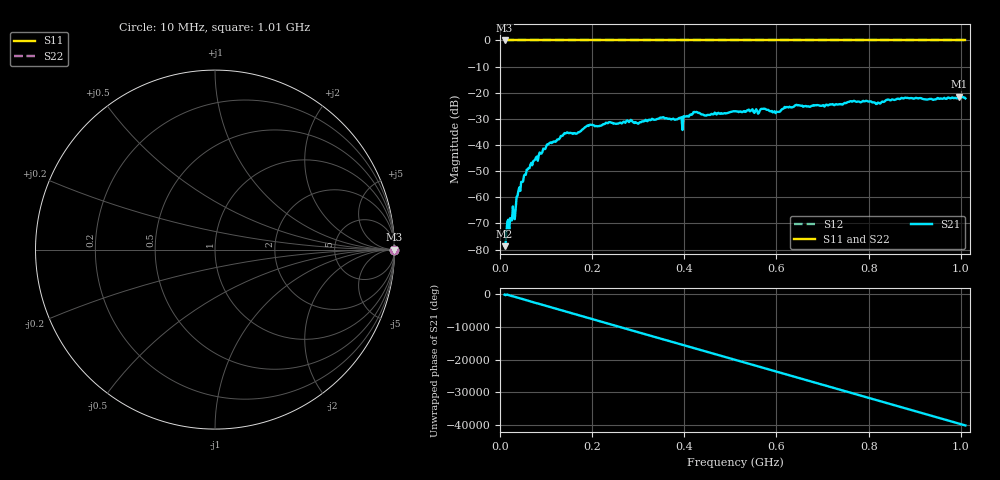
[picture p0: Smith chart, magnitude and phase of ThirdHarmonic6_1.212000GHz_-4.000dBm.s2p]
! 8/16/2025 12:38:12 PM
! C:\ANRITSUVNA\TEMP\TEMP.S2P
! CHANNEL.1
! TR.MEASUREMENT
! RAW.DATA
! RF.CORRECTION.OFF
! AVERAGING.OFF
! IF.BANDWIDTH: 5KHZ
! SWEEPTYPE:  FREQ.SWEEP(Linear)
! Reference Plane Port Info
! PORT:  PORT1  PORT2
! DISTANCE:  0  m  0  m
! TIME:  0  s  0  s
! PHASE.OFFSET:  0  deg.  0  deg.
! LOSS:  0  dB  0  dB
! REF.LOSS:  0  dB  0  dB
! REF.FREQ:  0  Hz  0  Hz
! Power Info
! POWER:  -20  dBm  -20  dBm
! EFF.POWER:  -20  dBm  -20  dBm
! SOURCE.ATTEN:  0  dB  0  dB
! TEST.ATTEN:  0  dB  0  dB
# GHZ S RI R 50.0
! FREQ.GHZ  S11RE  S11IM  S21RE  S21IM  S12RE  S12IM  S22RE  S22IM
!; PortSelection: Port_12
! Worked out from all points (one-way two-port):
!   501 points, 10 MHz to 1.01 GHz, reference 50 ohm
!   highest |S21| = -21.48 dB at 996 MHz (marker M1); lowest = -78.7 dB at 10 MHz (marker M2)
!   lowest |S11| = 0.0 dB at 10 MHz (marker M3)
!   |S11| at or under -10 dB: nowhere
!   |S22| runs from 0.0 to 0.0 dB; largest |S21 - S12| = 1.1
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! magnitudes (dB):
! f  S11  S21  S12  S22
! 10 MHz  0.0  -78.7  0.0  0.0
! 18 MHz  0.0  -68.6  0.0  0.0
! 30 MHz  0.0  -67.9  0.0  0.0
! 44 MHz  0.0  -57.6  0.0  0.0
! 64 MHz  0.0  -48.8  0.0  0.0
! 106 MHz  0.0  -39.5  0.0  0.0
! 142 MHz  0.0  -35.6  0.0  0.0
! 178 MHz  0.0  -34.2  0.0  0.0
! 198 MHz  0.0  -32.3  0.0  0.0
! 344 MHz  0.0  -29.9  0.0  0.0
! 392 MHz  0.0  -29.6  0.0  0.0
! 424 MHz  0.0  -27.5  0.0  0.0
! 448 MHz  0.0  -28.8  0.0  0.0
! 510 MHz  0.0  -27.1  0.0  0.0
! 572 MHz  0.0  -26.1  0.0  0.0
! 602 MHz  0.0  -27.3  0.0  0.0
! 644 MHz  0.0  -24.6  0.0  0.0
! 678 MHz  0.0  -25.0  0.0  0.0
! 820 MHz  0.0  -23.8  0.0  0.0
! 844 MHz  0.0  -22.7  0.0  0.0
! 996 MHz  0.0  -21.5  0.0  0.0
! 1.01 GHz  0.0  -22.2  0.0  0.0
